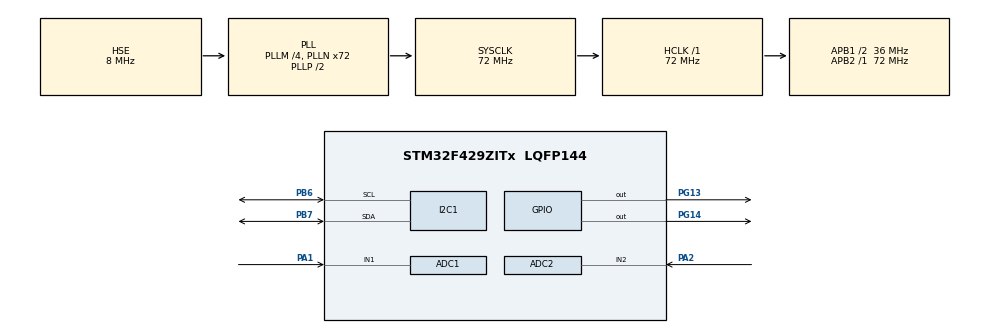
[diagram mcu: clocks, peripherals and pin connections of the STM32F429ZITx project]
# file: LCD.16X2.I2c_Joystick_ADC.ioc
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ADC1.Channel-0\#ChannelRegularConversion=ADC_CHANNEL_1
ADC1.ContinuousConvMode=ENABLE
ADC1.NbrOfConversionFlag=1
ADC1.Rank-0\#ChannelRegularConversion=1
ADC1.SamplingTime-0\#ChannelRegularConversion=ADC_SAMPLETIME_480CYCLES
ADC1.master=1
ADC2.Channel-0\#ChannelRegularConversion=ADC_CHANNEL_2
ADC2.ContinuousConvMode=ENABLE
ADC2.NbrOfConversionFlag=1
ADC2.Rank-0\#ChannelRegularConversion=1
ADC2.SamplingTime-0\#ChannelRegularConversion=ADC_SAMPLETIME_480CYCLES
Dma.ADC1.1.Direction=DMA_PERIPH_TO_MEMORY
Dma.ADC1.1.FIFOMode=DMA_FIFOMODE_DISABLE
Dma.ADC1.1.Instance=DMA2_Stream0
Dma.ADC1.1.MemDataAlignment=DMA_MDATAALIGN_WORD
Dma.ADC1.1.MemInc=DMA_MINC_ENABLE
Dma.ADC1.1.Mode=DMA_CIRCULAR
Dma.ADC1.1.PeriphDataAlignment=DMA_PDATAALIGN_WORD
Dma.ADC1.1.PeriphInc=DMA_PINC_DISABLE
Dma.ADC1.1.Priority=DMA_PRIORITY_LOW
Dma.ADC2.0.Direction=DMA_PERIPH_TO_MEMORY
Dma.ADC2.0.FIFOMode=DMA_FIFOMODE_DISABLE
Dma.ADC2.0.Instance=DMA2_Stream2
Dma.ADC2.0.MemDataAlignment=DMA_MDATAALIGN_WORD
Dma.ADC2.0.MemInc=DMA_MINC_ENABLE
Dma.ADC2.0.Mode=DMA_CIRCULAR
Dma.ADC2.0.PeriphDataAlignment=DMA_PDATAALIGN_WORD
Dma.ADC2.0.PeriphInc=DMA_PINC_DISABLE
Dma.ADC2.0.Priority=DMA_PRIORITY_LOW
Dma.Request0=ADC2
Dma.Request1=ADC1
Mcu.Family=STM32F4
Mcu.Name=STM32F429ZITx
Mcu.Package=LQFP144
NVIC.DMA2_Stream0_IRQn=true\:0\:0\:false\:false\:true\:false\:true\:true
NVIC.DMA2_Stream2_IRQn=true\:0\:0\:false\:false\:true\:false\:true\:true
NVIC.PriorityGroup=NVIC_PRIORITYGROUP_4
PA1.Signal=ADCx_IN1
PA13.Mode=Serial_Wire
PA13.Signal=SYS_JTMS-SWDIO
PA14.Mode=Serial_Wire
PA14.Signal=SYS_JTCK-SWCLK
PA2.Signal=ADCx_IN2
PB6.Mode=I2C
PB6.Signal=I2C1_SCL
PB7.Mode=I2C
PB7.Signal=I2C1_SDA
PG13.Signal=GPIO_Output
PG14.Signal=GPIO_Output
PH0/OSC_IN.Mode=HSE-External-Oscillator
PH0/OSC_IN.Signal=RCC_OSC_IN
PH1/OSC_OUT.Mode=HSE-External-Oscillator
PH1/OSC_OUT.Signal=RCC_OSC_OUT
ProjectManager.HeapSize=0x200
ProjectManager.StackSize=0x400
ProjectManager.TargetToolchain=STM32CubeIDE
RCC.48MHZClocksFreq_Value=48000000
RCC.AHBFreq_Value=72000000
RCC.APB1CLKDivider=RCC_HCLK_DIV2
RCC.APB1Freq_Value=36000000
RCC.APB1TimFreq_Value=72000000
RCC.APB2Freq_Value=72000000
RCC.APB2TimFreq_Value=72000000
RCC.CortexFreq_Value=72000000
RCC.HCLKFreq_Value=72000000
RCC.HSE_VALUE=8000000
RCC.HSI_VALUE=16000000
RCC.LSE_VALUE=32768
RCC.PLLM=4
RCC.PLLN=72
RCC.PLLQ=3
RCC.PLLSAIN=50
RCC.PLLSourceVirtual=RCC_PLLSOURCE_HSE
RCC.SYSCLKFreq_VALUE=72000000
RCC.SYSCLKSource=RCC_SYSCLKSOURCE_PLLCLK
RCC.VCOOutputFreq_Value=144000000
SH.ADCx_IN1.0=ADC1_IN1,IN1
SH.ADCx_IN2.0=ADC2_IN2,IN2
board=STM32F429I-DISC1

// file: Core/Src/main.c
/* USER CODE BEGIN Header */
/**
  ******************************************************************************
  * @file           : main.c
  * @brief          : Main program body
  ******************************************************************************
  * @attention
  *
  * Copyright (c) 2024 STMicroelectronics.
  * All rights reserved.
  *
  * This software is licensed under terms that can be found in the LICENSE file
  * in the root directory of this software component.
  * If no LICENSE file comes with this software, it is provided AS-IS.
  *
  ******************************************************************************
  */
/* USER CODE END Header */
#include "main.h"
#include"i2c-lcd.h"

/* USER CODE BEGIN PTD */
uint32_t VR[1];
uint32_t VR0[1];

/* USER CODE END PTD */

ADC_HandleTypeDef hadc1;
ADC_HandleTypeDef hadc2;
DMA_HandleTypeDef hdma_adc1;
DMA_HandleTypeDef hdma_adc2;

I2C_HandleTypeDef hi2c1;

void SystemClock_Config(void);
static void MX_GPIO_Init(void);
static void MX_DMA_Init(void);
static void MX_I2C1_Init(void);
static void MX_ADC1_Init(void);
static void MX_ADC2_Init(void);

int main(void)
{

  /* MCU Configuration--------------------------------------------------------*/

  /* Reset of all peripherals, Initializes the Flash interface and the Systick. */
  HAL_Init();

  /* Configure the system clock */
  SystemClock_Config();

  /* Initialize all configured peripherals */
  MX_GPIO_Init();
  MX_DMA_Init();
  MX_I2C1_Init();
  MX_ADC1_Init();
  MX_ADC2_Init();
  lcd_init();
  /* USER CODE BEGIN 2 */
  //lcd_send_string("led Yellow");

  /* USER CODE END 2 */

  /* Infinite loop */
  /* USER CODE BEGIN WHILE */
  while (1)
  {
	  HAL_ADC_Start_DMA(&hadc1, VR, 1);
	  HAL_ADC_Start_DMA(&hadc2, VR0, 1);

	  if ((VR[0] >= 12 && VR[0] <= 15) && (VR0[0] >= 12 && VR0[0] <= 15))
	  {   lcd_clear();
          lcd_put_cur(0,0);
	      lcd_send_string("STM32F429ZI ");
	      lcd_put_cur(1, 0);
	      lcd_send_string("I2C,ADC,UART");
	      HAL_Delay(10);
	      HAL_GPIO_WritePin(GPIOG, GPIO_PIN_14, 0);
	      HAL_GPIO_WritePin(GPIOG, GPIO_PIN_13, 0);
	  }

	  else if (VR[0] >= 1400 && VR0[0] >= 34 && VR0[0] <= 40)
	  {   lcd_clear();
          lcd_put_cur(0,0);
          lcd_send_string("LED RED");
          HAL_Delay(10);
	      HAL_GPIO_WritePin(GPIOG, GPIO_PIN_14, 1);
	      HAL_GPIO_WritePin(GPIOG, GPIO_PIN_13, 0);

	  }

	  else if (VR0[0] <= 15 && VR0[0] >= 12 && VR[0] <= 5)
	 {    lcd_clear();
          lcd_put_cur(0,0);
		  lcd_send_string("LED Yellow");
		  HAL_Delay(10);
	      HAL_GPIO_WritePin(GPIOG, GPIO_PIN_14, 0);
	      HAL_GPIO_WritePin(GPIOG, GPIO_PIN_13, 1);

	  }

	  else if ( VR[0] < 4 && VR0[0] <=4  )
	  {
	      lcd_clear();
	      lcd_put_cur(0,0);
	      lcd_send_string("LED RED");
	      lcd_put_cur(1,0);
	      lcd_send_string("AND LED Yellow");
	     // HAL_Delay(10);
	      HAL_GPIO_WritePin(GPIOG, GPIO_PIN_14, 1);
	      HAL_GPIO_WritePin(GPIOG, GPIO_PIN_13, 1);
	  }

    /* USER CODE END WHILE */

  }
}

void SystemClock_Config(void)
{
  RCC_OscInitTypeDef RCC_OscInitStruct = {0};
  RCC_ClkInitTypeDef RCC_ClkInitStruct = {0};

  /** Configure the main internal regulator output voltage
  */
  __HAL_RCC_PWR_CLK_ENABLE();
  __HAL_PWR_VOLTAGESCALING_CONFIG(PWR_REGULATOR_VOLTAGE_SCALE3);

  /** Initializes the RCC Oscillators according to the specified parameters
  * in the RCC_OscInitTypeDef structure.
  */
  RCC_OscInitStruct.OscillatorType = RCC_OSCILLATORTYPE_HSE;
  RCC_OscInitStruct.HSEState = RCC_HSE_ON;
  RCC_OscInitStruct.PLL.PLLState = RCC_PLL_ON;
  RCC_OscInitStruct.PLL.PLLSource = RCC_PLLSOURCE_HSE;
  RCC_OscInitStruct.PLL.PLLM = 4;
  RCC_OscInitStruct.PLL.PLLN = 72;
  RCC_OscInitStruct.PLL.PLLP = RCC_PLLP_DIV2;
  RCC_OscInitStruct.PLL.PLLQ = 3;
  if (HAL_RCC_OscConfig(&RCC_OscInitStruct) != HAL_OK)
  {
    Error_Handler();
  }

  /** Initializes the CPU, AHB and APB buses clocks
  */
  RCC_ClkInitStruct.ClockType = RCC_CLOCKTYPE_HCLK|RCC_CLOCKTYPE_SYSCLK
                              |RCC_CLOCKTYPE_PCLK1|RCC_CLOCKTYPE_PCLK2;
  RCC_ClkInitStruct.SYSCLKSource = RCC_SYSCLKSOURCE_PLLCLK;
  RCC_ClkInitStruct.AHBCLKDivider = RCC_SYSCLK_DIV1;
  RCC_ClkInitStruct.APB1CLKDivider = RCC_HCLK_DIV2;
  RCC_ClkInitStruct.APB2CLKDivider = RCC_HCLK_DIV1;

  if (HAL_RCC_ClockConfig(&RCC_ClkInitStruct, FLASH_LATENCY_2) != HAL_OK)
  {
    Error_Handler();
  }
}

static void MX_ADC1_Init(void)
{

  ADC_ChannelConfTypeDef sConfig = {0};

  /** Configure the global features of the ADC (Clock, Resolution, Data Alignment and number of conversion)
  */
  hadc1.Instance = ADC1;
  hadc1.Init.ClockPrescaler = ADC_CLOCK_SYNC_PCLK_DIV2;
  hadc1.Init.Resolution = ADC_RESOLUTION_12B;
  hadc1.Init.ScanConvMode = DISABLE;
  hadc1.Init.ContinuousConvMode = ENABLE;
  hadc1.Init.DiscontinuousConvMode = DISABLE;
  hadc1.Init.ExternalTrigConvEdge = ADC_EXTERNALTRIGCONVEDGE_NONE;
  hadc1.Init.ExternalTrigConv = ADC_SOFTWARE_START;
  hadc1.Init.DataAlign = ADC_DATAALIGN_RIGHT;
  hadc1.Init.NbrOfConversion = 1;
  hadc1.Init.DMAContinuousRequests = DISABLE;
  hadc1.Init.EOCSelection = ADC_EOC_SINGLE_CONV;
  if (HAL_ADC_Init(&hadc1) != HAL_OK)
  {
    Error_Handler();
  }

  /** Configure for the selected ADC regular channel its corresponding rank in the sequencer and its sample time.
  */
  sConfig.Channel = ADC_CHANNEL_1;
  sConfig.Rank = 1;
  sConfig.SamplingTime = ADC_SAMPLETIME_480CYCLES;
  if (HAL_ADC_ConfigChannel(&hadc1, &sConfig) != HAL_OK)
  {
    Error_Handler();
  }

}

static void MX_ADC2_Init(void)
{

  ADC_ChannelConfTypeDef sConfig = {0};

  /** Configure the global features of the ADC (Clock, Resolution, Data Alignment and number of conversion)
  */
  hadc2.Instance = ADC2;
  hadc2.Init.ClockPrescaler = ADC_CLOCK_SYNC_PCLK_DIV2;
  hadc2.Init.Resolution = ADC_RESOLUTION_12B;
  hadc2.Init.ScanConvMode = DISABLE;
  hadc2.Init.ContinuousConvMode = ENABLE;
  hadc2.Init.DiscontinuousConvMode = DISABLE;
  hadc2.Init.ExternalTrigConvEdge = ADC_EXTERNALTRIGCONVEDGE_NONE;
  hadc2.Init.ExternalTrigConv = ADC_SOFTWARE_START;
  hadc2.Init.DataAlign = ADC_DATAALIGN_RIGHT;
  hadc2.Init.NbrOfConversion = 1;
  hadc2.Init.DMAContinuousRequests = DISABLE;
  hadc2.Init.EOCSelection = ADC_EOC_SINGLE_CONV;
  if (HAL_ADC_Init(&hadc2) != HAL_OK)
  {
    Error_Handler();
  }

  /** Configure for the selected ADC regular channel its corresponding rank in the sequencer and its sample time.
  */
  sConfig.Channel = ADC_CHANNEL_2;
  sConfig.Rank = 1;
  sConfig.SamplingTime = ADC_SAMPLETIME_480CYCLES;
  if (HAL_ADC_ConfigChannel(&hadc2, &sConfig) != HAL_OK)
  {
    Error_Handler();
  }

}

static void MX_I2C1_Init(void)
{

  hi2c1.Instance = I2C1;
  hi2c1.Init.ClockSpeed = 100000;
  hi2c1.Init.DutyCycle = I2C_DUTYCYCLE_2;
  hi2c1.Init.OwnAddress1 = 0;
  hi2c1.Init.AddressingMode = I2C_ADDRESSINGMODE_7BIT;
  hi2c1.Init.DualAddressMode = I2C_DUALADDRESS_DISABLE;
  hi2c1.Init.OwnAddress2 = 0;
  hi2c1.Init.GeneralCallMode = I2C_GENERALCALL_DISABLE;
  hi2c1.Init.NoStretchMode = I2C_NOSTRETCH_DISABLE;
  if (HAL_I2C_Init(&hi2c1) != HAL_OK)
  {
    Error_Handler();
  }

  /** Configure Analogue filter
  */
  if (HAL_I2CEx_ConfigAnalogFilter(&hi2c1, I2C_ANALOGFILTER_ENABLE) != HAL_OK)
  {
    Error_Handler();
  }

  /** Configure Digital filter
  */
  if (HAL_I2CEx_ConfigDigitalFilter(&hi2c1, 0) != HAL_OK)
  {
    Error_Handler();
  }

}

static void MX_DMA_Init(void)
{

  /* DMA controller clock enable */
  __HAL_RCC_DMA2_CLK_ENABLE();

  /* DMA interrupt init */
  /* DMA2_Stream0_IRQn interrupt configuration */
  HAL_NVIC_SetPriority(DMA2_Stream0_IRQn, 0, 0);
  HAL_NVIC_EnableIRQ(DMA2_Stream0_IRQn);
  /* DMA2_Stream2_IRQn interrupt configuration */
  HAL_NVIC_SetPriority(DMA2_Stream2_IRQn, 0, 0);
  HAL_NVIC_EnableIRQ(DMA2_Stream2_IRQn);

}

static void MX_GPIO_Init(void)
{
  GPIO_InitTypeDef GPIO_InitStruct = {0};

  /* GPIO Ports Clock Enable */
  __HAL_RCC_GPIOH_CLK_ENABLE();
  __HAL_RCC_GPIOA_CLK_ENABLE();
  __HAL_RCC_GPIOG_CLK_ENABLE();
  __HAL_RCC_GPIOB_CLK_ENABLE();

  /*Configure GPIO pin Output Level */
  HAL_GPIO_WritePin(GPIOG, GPIO_PIN_13|GPIO_PIN_14, GPIO_PIN_RESET);

  /*Configure GPIO pins : PG13 PG14 */
  GPIO_InitStruct.Pin = GPIO_PIN_13|GPIO_PIN_14;
  GPIO_InitStruct.Mode = GPIO_MODE_OUTPUT_PP;
  GPIO_InitStruct.Pull = GPIO_NOPULL;
  GPIO_InitStruct.Speed = GPIO_SPEED_FREQ_LOW;
  HAL_GPIO_Init(GPIOG, &GPIO_InitStruct);

}

void Error_Handler(void)
{
  __disable_irq();
  while (1)
  {
  }
}
